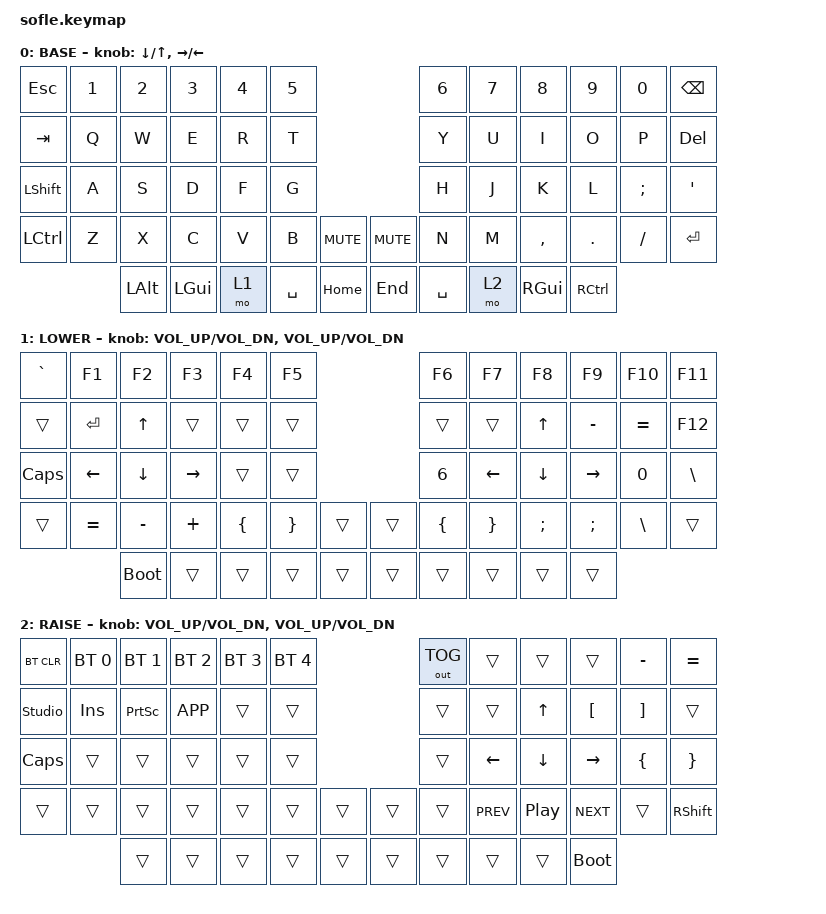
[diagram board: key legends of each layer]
/*
 * Copyright (c) 2020 The ZMK Contributors
 *
 * SPDX-License-Identifier: MIT
 */

#include <behaviors.dtsi>
#include <dt-bindings/zmk/keys.h>
#include <dt-bindings/zmk/bt.h>
#include <dt-bindings/zmk/ext_power.h>
#include <dt-bindings/zmk/outputs.h>

/ {
    keymap {
        compatible = "zmk,keymap";

        default_layer {
            display-name = "BASE";
// ------------------------------------------------------------------------------------------------------------
// |  ESC  |  1  |  2  |  3   |  4   |  5   |                   |  6   |  7    |  8    |  9   |   0   | BKSPC |
// |  TAB  |  Q  |  W  |  E   |  R   |  T   |                   |  Y   |  U    |  I    |  O   |   P   |  DEL  |
// | SHIFT |  A  |  S  |  D   |  F   |  G   |                   |  H   |  J    |  K    |  L   |   ;   |   '   |
// | CTRL  |  Z  |  X  |  C   |  V   |  B   |  MUTE  |  | MUTE  |  N   |  M    |  ,    |  .   |   /   | ENTER |
//               | ALT | GUI  | LOWER| SPACE|  HOME  |  |  END  | SPACE| RAISE |  GUI  | CTRL  |
            bindings = <
&kp ESC   &kp N1 &kp N2 &kp N3   &kp N4   &kp N5                      &kp N6 &kp N7    &kp N8    &kp N9   &kp N0    &kp BSPC
&kp TAB   &kp Q  &kp W  &kp E    &kp R    &kp T                       &kp Y  &kp U     &kp I     &kp O    &kp P     &kp DEL
&kp LSHFT &kp A  &kp S  &kp D    &kp F    &kp G                       &kp H  &kp J     &kp K     &kp L    &kp SEMI  &kp SQT
&kp LCTRL &kp Z  &kp X  &kp C    &kp V    &kp B  &kp C_MUTE &kp C_MUTE &kp N &kp M     &kp COMMA &kp DOT  &kp FSLH  &kp RET
                 &kp LALT &kp LGUI &mo 1  &kp SPACE  &kp HOME   &kp END &kp SPACE &mo 2    &kp RGUI  &kp RCTRL
            >;

            sensor-bindings = <&inc_dec_kp DOWN UP &inc_dec_kp RIGHT LEFT>;
        };

        lower_layer {
            display-name = "LOWER";
// ------------------------------------------------------------------------------------------------------------
// |   `   |  F1 |  F2 |  F3  |  F4  |  F5  |                   |  F6  |  F7   |  F8   |  F9  |  F10  |  F11  |
// |       | RET |  UP |      |      |      |                   |      |       |  UP   |  -   |   =   |  F12  |
// | CAPS  | LEFT| DOWN| RIGHT|      |      |                   |  6   | LEFT  | DOWN  | RIGHT|   0   |   \   |
// |       |  =  |  -  |  +   |  {   |  }   |        |  |       |  {   |  }    |   ;   |   ;   |   \   |       |
//              |BOOTLDR|     |      |      |        |  |       |      |       |       |      |
            bindings = <
&kp GRAVE &kp F1    &kp F2    &kp F3    &kp F4    &kp F5                      &kp F6    &kp F7    &kp F8    &kp F9    &kp F10   &kp F11
&trans    &kp RET   &kp UP    &trans    &trans    &trans                      &trans    &trans    &kp UP    &kp MINUS &kp EQUAL &kp F12
&kp CLCK  &kp LEFT  &kp DOWN  &kp RIGHT &trans    &trans                      &kp N6    &kp LEFT  &kp DOWN  &kp RIGHT &kp N0    &kp BSLH
&trans    &kp EQUAL &kp MINUS &kp PLUS  &kp LBRC  &kp RBRC  &trans   &trans   &kp LBRC  &kp RBRC  &kp SEMI  &kp SEMI  &kp BSLH  &trans
                    &bootloader &trans  &trans    &trans    &trans   &trans   &trans    &trans    &trans    &trans
            >;

            sensor-bindings = <&inc_dec_kp C_VOL_UP C_VOL_DN &inc_dec_kp C_VOL_UP C_VOL_DN>;
        };

        raise_layer {
            display-name = "RAISE";
// ------------------------------------------------------------------------------------------------------------
// | BT_CLR| BT1 | BT2 | BT3  | BT4  | BT5  |                   |OUT_TOG|      |       |      |   -   |   =   |
// | UNLOCK| INS | PRSC| APPL |      |      |                   |      |       |  UP   |  [   |   ]   |       |
// | CAPS  |     |     |      |      |      |                   |      | LEFT  | DOWN  | RIGHT|   {   |   }   |
// |       |     |     |      |      |      |        |  |       |      | PREV  | PLAY  | NEXT |       | SHIFT |
//                 |     |      |      |      |        |  |       |      |       |       |BOOTLDR|
            bindings = <
&bt BT_CLR &bt BT_SEL 0 &bt BT_SEL 1 &bt BT_SEL 2 &bt BT_SEL 3 &bt BT_SEL 4    &out OUT_TOG &trans &trans &trans &kp MINUS &kp EQUAL
&studio_unlock &kp INS  &kp PSCRN &kp K_APP &trans    &trans                      &trans    &trans    &kp UP    &kp LBKT  &kp RBKT  &trans
&kp CLCK  &trans    &trans    &trans    &trans    &trans                      &trans    &kp LEFT  &kp DOWN  &kp RIGHT &kp LBRC  &kp RBRC
&trans    &trans    &trans    &trans    &trans    &trans    &trans   &trans   &trans    &kp C_PREV &kp C_PP &kp C_NEXT &trans   &kp RSHFT
                    &trans    &trans    &trans    &trans    &trans   &trans   &trans    &trans    &trans    &bootloader
            >;

            sensor-bindings = <&inc_dec_kp C_VOL_UP C_VOL_DN &inc_dec_kp C_VOL_UP C_VOL_DN>;
        };
    };
};
